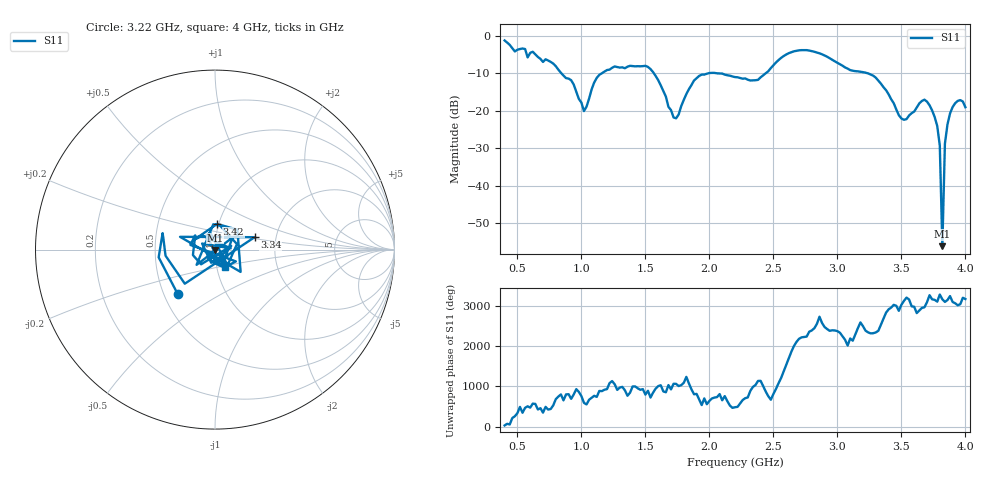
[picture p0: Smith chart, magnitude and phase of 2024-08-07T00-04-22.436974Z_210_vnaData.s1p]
!Created with skrf (http://scikit-rf.org).
# Hz S RI R 50.0
!freq ReS11 ImS11
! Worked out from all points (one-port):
!   181 points, 400 MHz to 4 GHz, reference 50 ohm
!   lowest |S11| = -56.1 dB at 3.82 GHz (marker M1), VSWR 1.00, Z = 50.1 - j0.146 ohm
!   |S11| at or under -10 dB: 1.567 GHz to 1.987 GHz (420.4 MHz wide, 23.7 % of centre); 2.087 GHz to 2.439 GHz (352.4 MHz wide, 15.6 % of centre); 3.241 GHz to end of sweep (the widest 3 of 4)
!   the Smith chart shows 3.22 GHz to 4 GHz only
!   S11 on the Smith chart (normalised r, x): 3.22 GHz: 0.59, -0.33; 3.34 GHz: 1.55, +0.23; 3.42 GHz: 0.98, +0.29; 4 GHz: 1.09, -0.22
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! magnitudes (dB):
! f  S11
! 400 MHz  -1.2
! 860 MHz  -10.6
! 940 MHz  -13.0
! 1.02 GHz  -20.0
! 1.12 GHz  -11.2
! 1.3 GHz  -8.4
! 1.52 GHz  -8.3
! 1.6 GHz  -11.8
! 1.72 GHz  -21.7
! 1.76 GHz  -20.9
! 1.92 GHz  -10.7
! 2.2 GHz  -11.0
! 2.38 GHz  -11.7
! 2.66 GHz  -4.1
! 3.1 GHz  -9.1
! 3.22 GHz  -9.8
! 3.34 GHz  -12.7
! 3.42 GHz  -16.9
! 3.5 GHz  -22.0
! 3.56 GHz  -21.2
! 3.68 GHz  -17.0
! 3.78 GHz  -24.0
! 3.8 GHz  -29.2
! 3.82 GHz  -56.1
! 3.84 GHz  -28.7
! 3.86 GHz  -23.6
! 3.92 GHz  -17.9
! 4 GHz  -19.0
